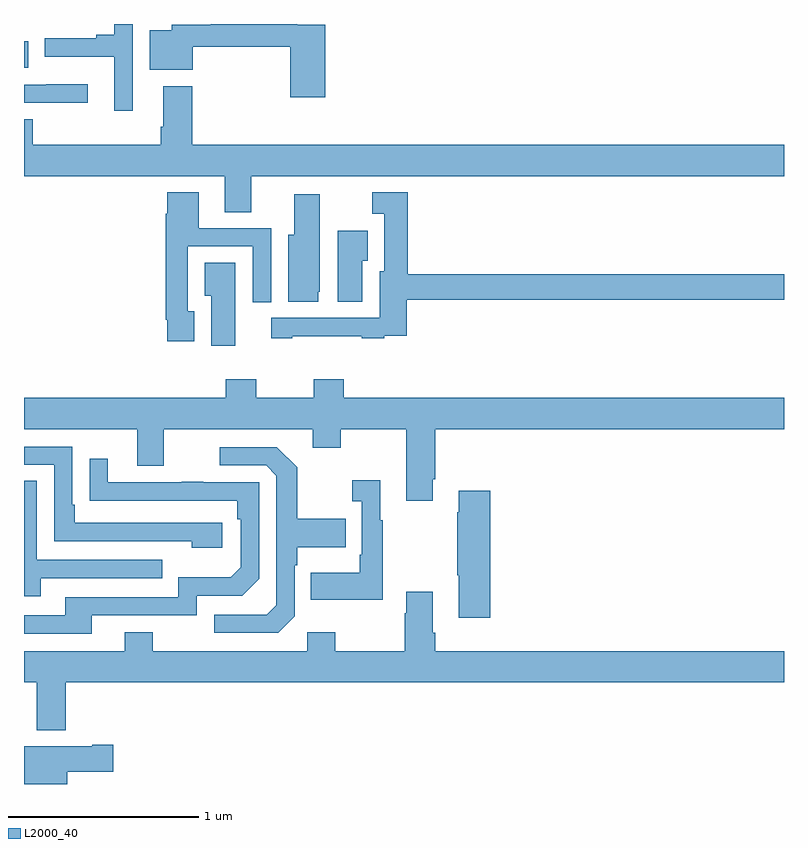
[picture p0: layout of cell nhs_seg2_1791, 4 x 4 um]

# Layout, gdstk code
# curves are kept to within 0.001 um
import gdstk
lib = gdstk.Library(unit=1e-6, precision=1e-09)
def R(c, l, rs):  # rectangles x0, y0, x1, y1
    for r in rs: c.add(gdstk.rectangle(r[:2], r[2:], *l))
def P(c, l, *ps):  # polygons
    for p in ps: c.add(gdstk.Polygon(p, *l))
L2000_40 = (2000, 40)

nhs_seg2_1791 = lib.new_cell('nhs_seg2_1791')
R(nhs_seg2_1791, L2000_40, [(205,617.57,205.023,617.71)])
P(nhs_seg2_1791, L2000_40, [(205.572,617.8),(205.475,617.8),(205.475,617.744),(205.379,617.744),(205.379,617.725),(205.108,617.725),(205.108,617.627),(205.475,617.627),(205.475,617.343),(205.572,617.343)],
  [(206.585,617.796),(206.438,617.796),(206.438,617.8),(205.984,617.8),(205.984,617.796),(205.778,617.796),(205.778,617.767),(205.661,617.767),(205.661,617.558),(205.888,617.558),(205.888,617.68),(206.402,617.68),(206.402,617.415),(206.585,617.415)],
  [(205.336,617.482),(205.116,617.482),(205.116,617.481),(205,617.481),(205,617.385),(205.336,617.385)],
  [(205,617.3),(205,617),(206.057,617),(206.057,616.81),(206.197,616.81),(206.197,617),(209,617),(209,617.164),(205.886,617.164),(205.886,617.473),(205.733,617.473),(205.733,617.26),(205.721,617.26),(205.721,617.164),(205.046,617.164),(205.046,617.3)],
  [(205.897,616.287),(205.863,616.287),(205.863,616.629),(206.205,616.629),(206.205,616.335),(206.301,616.335),(206.301,616.725),(205.921,616.725),(205.921,616.915),(205.754,616.915),(205.754,616.802),(205.747,616.802),(205.747,616.243),(205.755,616.243),(205.755,616.131),(205.897,616.131)],
  [(206.413,616.156),(206.777,616.156),(206.777,616.146),(206.897,616.146),(206.897,616.158),(207.014,616.158),(207.014,616.348),(209,616.348),(209,616.484),(207.019,616.484),(207.019,616.915),(206.832,616.915),(206.832,616.802),(206.897,616.802),(206.897,616.5),(206.873,616.5),(206.873,616.254),(206.301,616.254),(206.301,616.146),(206.413,616.146)],
  [(206.548,616.392),(206.557,616.392),(206.557,616.903),(206.423,616.903),(206.423,616.69),(206.39,616.69),(206.39,616.339),(206.548,616.339)],
  [(206.779,616.555),(206.809,616.555),(206.809,616.711),(206.651,616.711),(206.651,616.339),(206.779,616.339)],
  [(206.113,616.544),(205.952,616.544),(205.952,616.37),(205.985,616.37),(205.985,616.107),(206.113,616.107)],
  [(207.151,615.403),(207.164,615.403),(207.164,615.668),(209,615.668),(209,615.832),(206.684,615.832),(206.684,615.931),(206.524,615.931),(206.524,615.832),(206.223,615.832),(206.223,615.931),(206.063,615.931),(206.063,615.832),(205,615.832),(205,615.668),(205.595,615.668),(205.595,615.474),(205.735,615.474),(205.735,615.668),(206.519,615.668),(206.519,615.569),(206.667,615.569),(206.667,615.668),(207.011,615.668),(207.011,615.291),(207.151,615.291)],
  [(206.044,615.174),(205.267,615.174),(205.267,615.271),(205.254,615.271),(205.254,615.576),(205,615.576),(205,615.48),(205.158,615.48),(205.158,615.078),(205.883,615.078),(205.883,615.044),(206.044,615.044)],
  [(206.424,614.682),(206.424,614.951),(206.437,614.951),(206.437,615.047),(206.693,615.047),(206.693,615.195),(206.437,615.195),(206.437,615.467),(206.331,615.573),(206.031,615.573),(206.031,615.477),(206.274,615.477),(206.328,615.423),(206.328,614.742),(206.277,614.691),(206.001,614.691),(206.001,614.595),(206.337,614.595)],
  [(205.357,614.688),(205.908,614.688),(205.908,614.79),(206.148,614.79),(206.238,614.88),(206.238,615.387),(205.943,615.387),(205.943,615.392),(205.831,615.392),(205.831,615.387),(205.441,615.387),(205.441,615.511),(205.345,615.511),(205.345,615.292),(206.122,615.291),(206.122,615.194),(206.142,615.194),(206.142,614.94),(206.089,614.887),(205.812,614.887),(205.812,614.784),(205.217,614.784),(205.217,614.688),(205,614.688),(205,614.592),(205.357,614.592)],
  [(206.887,615.187),(206.875,615.187),(206.875,615.4),(206.727,615.4),(206.727,615.287),(206.778,615.287),(206.778,615.007),(206.766,615.007),(206.766,614.911),(206.509,614.911),(206.509,614.771),(206.887,614.771)],
  [(205.087,614.883),(205.727,614.883),(205.727,614.979),(205.068,614.979),(205.068,615.395),(205,615.395),(205,614.789),(205.087,614.789)],
  [(207.455,615.343),(207.287,615.343),(207.287,615.23),(207.28,615.23),(207.28,614.899),(207.287,614.899),(207.287,614.676),(207.455,614.676)],
  [(205.22,614.336),(209,614.336),(209,614.5),(207.164,614.5),(207.164,614.596),(207.151,614.596),(207.151,614.812),(207.011,614.812),(207.011,614.699),(207.004,614.699),(207.004,614.5),(206.637,614.5),(206.637,614.599),(206.49,614.599),(206.49,614.5),(205.677,614.5),(205.677,614.599),(205.529,614.599),(205.529,614.5),(205,614.5),(205,614.336),(205.067,614.336),(205.067,614.084),(205.22,614.084)],
  [(205.228,613.865),(205.471,613.865),(205.471,614.007),(205.358,614.007),(205.358,613.999),(205,613.999),(205,613.8),(205.228,613.8)])

lib.write_gds('nhs_seg2_1791.gds')
